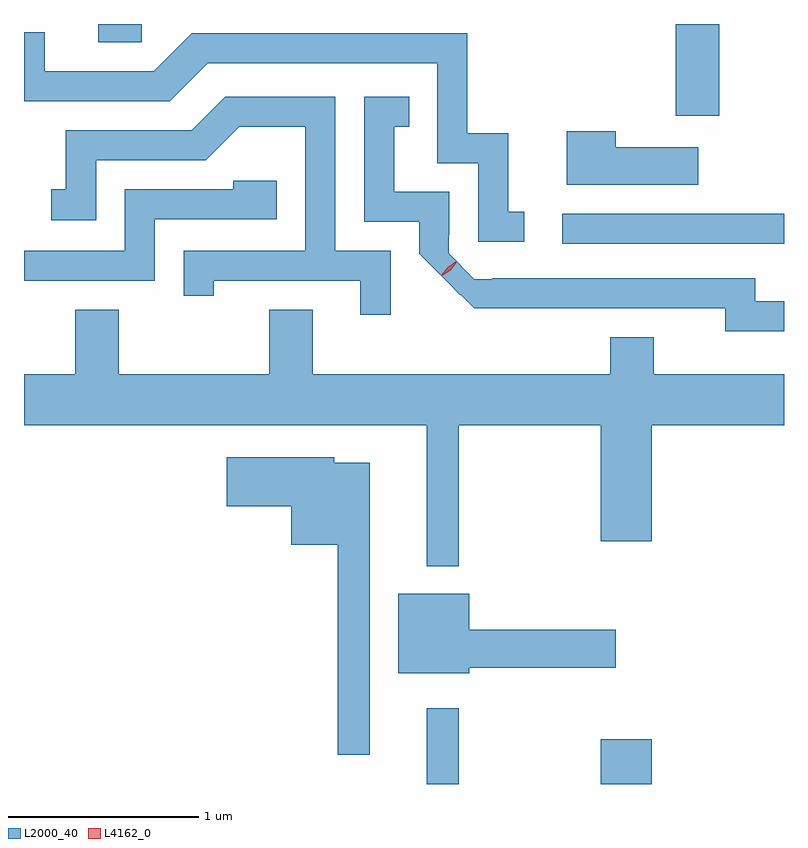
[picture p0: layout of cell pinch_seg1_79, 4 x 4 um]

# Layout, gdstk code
import gdstk
lib = gdstk.Library(unit=1e-6, precision=1e-09)
def R(c, l, rs):  # rectangles x0, y0, x1, y1
    for r in rs: c.add(gdstk.rectangle(r[:2], r[2:], *l))
def P(c, l, *ps):  # polygons
    for p in ps: c.add(gdstk.Polygon(p, *l))
L2000_40 = (2000, 40)
L4162_0 = (4162, 0)

pinch_seg1_79 = lib.new_cell('pinch_seg1_79')
R(pinch_seg1_79, L2000_40, [(214.161,864.388,214.329,864.788), (215.076,864.388,215.344,864.624), (214.873,867.231,216.04,867.389), (215.471,867.906,215.699,868.388), (212.431,868.291,212.659,868.388)])
P(pinch_seg1_79, L2000_40, [(214.673,867.399),(214.589,867.399),(214.589,867.814),(214.374,867.814),(214.374,868.339),(212.924,868.339),(212.724,868.139),(212.149,868.139),(212.149,868.344),(212.04,868.344),(212.04,867.981),(212.807,867.981),(213.007,868.181),(214.216,868.181),(214.216,867.656),(214.431,867.656),(214.431,867.241),(214.673,867.241)],
  [(216.04,866.929),(215.889,866.929),(215.889,867.049),(214.505,867.049),(214.505,867.045),(214.411,867.045),(214.275,867.181),(214.275,867.275),(214.279,867.275),(214.279,867.504),(213.989,867.504),(213.989,867.846),(214.068,867.846),(214.068,868.004),(213.831,868.004),(213.831,867.346),(214.121,867.346),(214.121,867.18),(214.265,867.035),(214.264,867.034),(214.336,866.961),(214.338,866.963),(214.41,866.891),(215.731,866.891),(215.731,866.771),(216.04,866.771)],
  [(213.969,867.194),(213.679,867.194),(213.679,868.004),(213.099,868.004),(212.924,867.829),(212.261,867.829),(212.261,867.519),(212.183,867.519),(212.183,867.356),(212.419,867.356),(212.419,867.671),(212.997,867.671),(213.172,867.846),(213.521,867.846),(213.521,867.194),(212.881,867.194),(212.881,866.958),(213.039,866.958),(213.039,867.036),(213.811,867.036),(213.811,866.858),(213.969,866.858)],
  [(215.589,867.739),(215.154,867.739),(215.154,867.824),(214.896,867.824),(214.896,867.541),(215.589,867.541)],
  [(212.729,867.361),(213.369,867.361),(213.369,867.564),(213.141,867.564),(213.141,867.519),(212.571,867.519),(212.571,867.194),(212.04,867.194),(212.04,867.036),(212.729,867.036)],
  [(215.126,866.739),(215.126,866.544),(213.559,866.544),(213.559,866.884),(213.331,866.884),(213.331,866.544),(212.539,866.544),(212.539,866.884),(212.311,866.884),(212.311,866.544),(212.04,866.544),(212.04,866.276),(214.161,866.276),(214.161,865.533),(214.329,865.533),(214.329,866.276),(215.076,866.276),(215.076,865.666),(215.344,865.666),(215.344,866.276),(216.04,866.276),(216.04,866.544),(215.354,866.544),(215.354,866.739)],
  [(213.859,866.079),(213.674,866.079),(213.674,866.109),(213.106,866.109),(213.106,865.851),(213.446,865.851),(213.446,865.646),(213.691,865.646),(213.691,864.543),(213.859,864.543)],
  [(214.384,865.001),(215.154,865.001),(215.154,865.199),(214.384,865.199),(214.384,865.389),(214.011,865.389),(214.011,864.971),(214.384,864.971)])
P(pinch_seg1_79, L4162_0, [(214.237,867.065),(214.237,867.066),(214.27,867.109),(214.316,867.139),(214.316,867.139),(214.316,867.139),(214.283,867.095),(214.238,867.065)],
  [(214.243,867.066),(214.243,867.066),(214.272,867.107),(214.315,867.133),(214.316,867.133),(214.316,867.132),(214.286,867.092),(214.244,867.066)])

lib.write_gds('pinch_seg1_79.gds')
